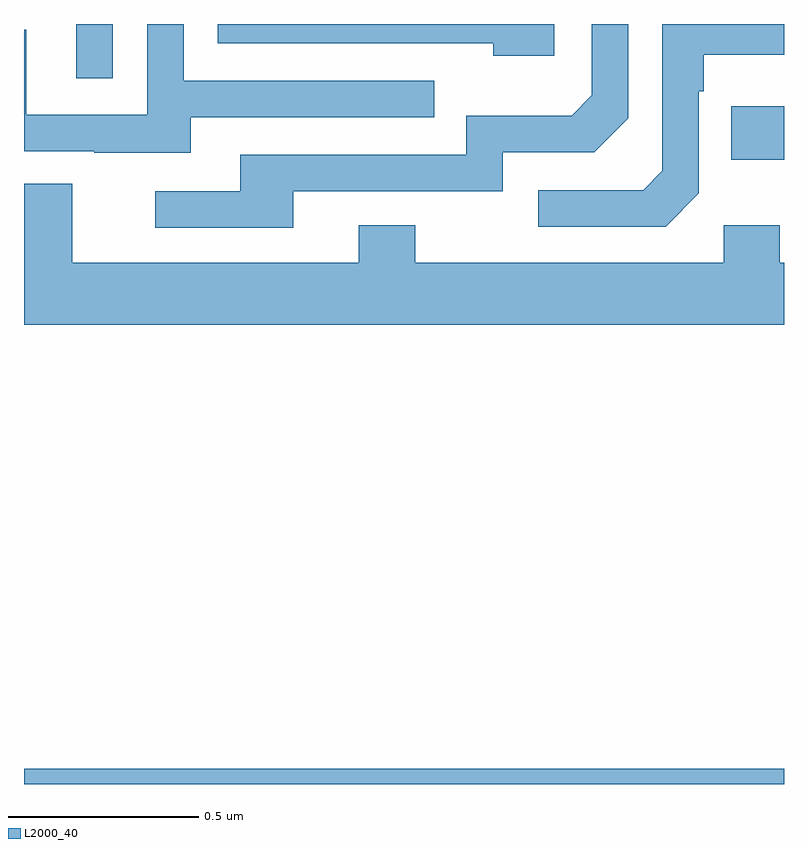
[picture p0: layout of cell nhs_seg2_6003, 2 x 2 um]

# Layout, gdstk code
import gdstk
lib = gdstk.Library(unit=1e-6, precision=1e-09)
def R(c, l, rs):  # rectangles x0, y0, x1, y1
    for r in rs: c.add(gdstk.rectangle(r[:2], r[2:], *l))
def P(c, l, *ps):  # polygons
    for p in ps: c.add(gdstk.Polygon(p, *l))
L2000_40 = (2000, 40)

nhs_seg2_6003 = lib.new_cell('nhs_seg2_6003')
R(nhs_seg2_6003, L2000_40, [(186,607.8,188,607.84), (187.861,609.443,188,609.583), (186.137,609.657,186.234,609.8)])
P(nhs_seg2_6003, L2000_40, [(186.439,609.555),(187.079,609.555),(187.079,609.651),(186.42,609.651),(186.42,609.8),(186.324,609.8),(186.324,609.561),(186.006,609.561),(186.006,609.785),(186,609.785),(186,609.465),(186.185,609.465),(186.185,609.461),(186.439,609.461)],
  [(186.709,609.36),(187.26,609.36),(187.26,609.462),(187.5,609.462),(187.59,609.552),(187.59,609.8),(187.494,609.8),(187.494,609.612),(187.441,609.559),(187.164,609.559),(187.164,609.456),(186.569,609.456),(186.569,609.36),(186.345,609.36),(186.345,609.264),(186.709,609.264)],
  [(187.396,609.8),(186.51,609.8),(186.51,609.75),(187.235,609.75),(187.235,609.716),(187.396,609.716)],
  [(187.776,609.354),(187.776,609.623),(187.789,609.623),(187.789,609.719),(188,609.719),(188,609.8),(187.68,609.8),(187.68,609.414),(187.629,609.363),(187.353,609.363),(187.353,609.267),(187.689,609.267)],
  [(188,609.172),(187.989,609.172),(187.989,609.271),(187.842,609.271),(187.842,609.172),(187.029,609.172),(187.029,609.271),(186.881,609.271),(186.881,609.172),(186.127,609.172),(186.127,609.38),(186,609.38),(186,609.008),(188,609.008)])

lib.write_gds('nhs_seg2_6003.gds')
